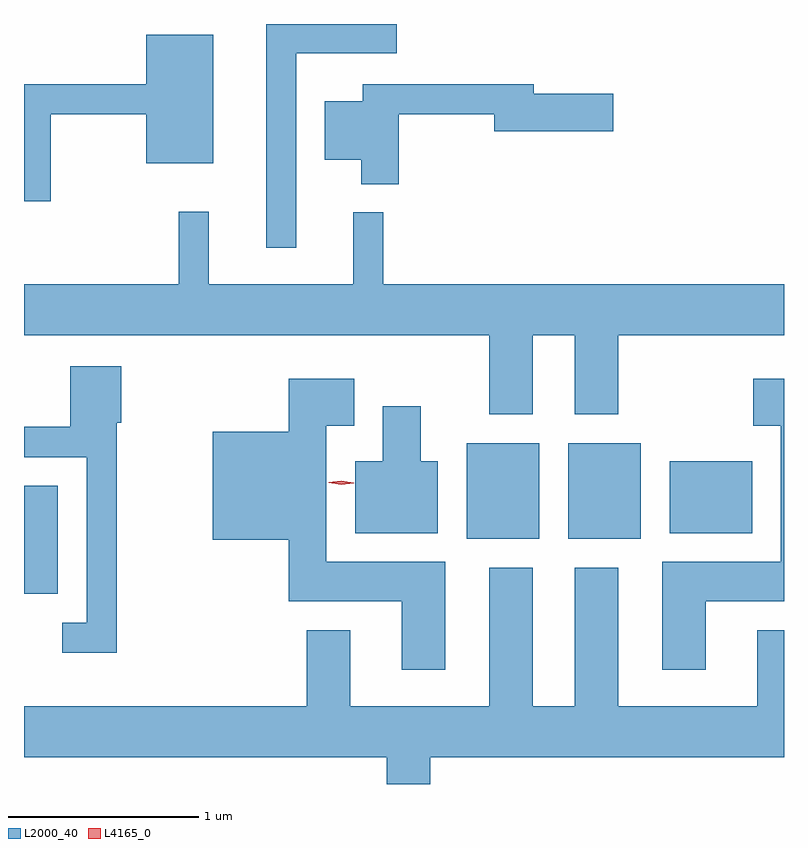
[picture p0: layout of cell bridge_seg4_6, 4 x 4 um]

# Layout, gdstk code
import gdstk
lib = gdstk.Library(unit=1e-6, precision=1e-09)
def R(c, l, rs):  # rectangles x0, y0, x1, y1
    for r in rs: c.add(gdstk.rectangle(r[:2], r[2:], *l))
def P(c, l, *ps):  # polygons
    for p in ps: c.add(gdstk.Polygon(p, *l))
L2000_40 = (2000, 40)
L4165_0 = (4165, 0)

bridge_seg4_6 = lib.new_cell('bridge_seg4_6')
R(bridge_seg4_6, L2000_40, [(1255.822,1377.736,1255.999,1378.304), (1258.151,1378.026,1258.534,1378.529), (1258.686,1378.026,1259.069,1378.529), (1259.221,1378.056,1259.654,1378.434)])
P(bridge_seg4_6, L2000_40, [(1257.254,1380.581),(1257.784,1380.581),(1257.784,1380.735),(1257.096,1380.735),(1257.096,1379.558),(1257.254,1379.558)],
  [(1255.964,1380.261),(1256.466,1380.261),(1256.466,1380.001),(1256.819,1380.001),(1256.819,1380.679),(1256.466,1380.679),(1256.466,1380.419),(1255.822,1380.419),(1255.822,1379.801),(1255.964,1379.801)],
  [(1257.794,1380.261),(1258.296,1380.261),(1258.296,1380.171),(1258.924,1380.171),(1258.924,1380.369),(1258.504,1380.369),(1258.504,1380.419),(1257.606,1380.419),(1257.606,1380.329),(1257.406,1380.329),(1257.406,1380.021),(1257.596,1380.021),(1257.596,1379.891),(1257.794,1379.891)],
  [(1258.499,1379.096),(1258.721,1379.096),(1258.721,1378.681),(1258.949,1378.681),(1258.949,1379.096),(1259.822,1379.096),(1259.822,1379.364),(1257.714,1379.364),(1257.714,1379.743),(1257.556,1379.743),(1257.556,1379.364),(1256.794,1379.364),(1256.794,1379.748),(1256.636,1379.748),(1256.636,1379.364),(1255.822,1379.364),(1255.822,1379.096),(1258.271,1379.096),(1258.271,1378.681),(1258.499,1378.681)],
  [(1256.309,1378.636),(1256.334,1378.636),(1256.334,1378.934),(1256.066,1378.934),(1256.066,1378.614),(1255.822,1378.614),(1255.822,1378.456),(1256.151,1378.456),(1256.151,1377.584),(1256.023,1377.584),(1256.023,1377.426),(1256.309,1377.426)],
  [(1258.039,1377.904),(1257.414,1377.904),(1257.414,1378.621),(1257.559,1378.621),(1257.559,1378.869),(1257.216,1378.869),(1257.216,1378.589),(1256.816,1378.589),(1256.816,1378.021),(1257.216,1378.021),(1257.216,1377.696),(1257.811,1377.696),(1257.811,1377.336),(1258.039,1377.336)],
  [(1259.409,1377.696),(1259.822,1377.696),(1259.822,1378.869),(1259.661,1378.869),(1259.661,1378.621),(1259.806,1378.621),(1259.806,1377.904),(1259.181,1377.904),(1259.181,1377.336),(1259.409,1377.336)],
  [(1257.999,1378.434),(1257.909,1378.434),(1257.909,1378.724),(1257.711,1378.724),(1257.711,1378.434),(1257.566,1378.434),(1257.566,1378.056),(1257.999,1378.056)],
  [(1259.822,1377.544),(1259.681,1377.544),(1259.681,1377.144),(1258.949,1377.144),(1258.949,1377.874),(1258.721,1377.874),(1258.721,1377.144),(1258.499,1377.144),(1258.499,1377.874),(1258.271,1377.874),(1258.271,1377.144),(1257.539,1377.144),(1257.539,1377.544),(1257.311,1377.544),(1257.311,1377.144),(1255.822,1377.144),(1255.822,1376.876),(1257.731,1376.876),(1257.731,1376.735),(1257.959,1376.735),(1257.959,1376.876),(1259.822,1376.876)])
P(bridge_seg4_6, L4165_0, [(1257.492,1378.31),(1257.426,1378.321),(1257.426,1378.321),(1257.426,1378.322),(1257.492,1378.33),(1257.558,1378.32),(1257.558,1378.319),(1257.558,1378.318)])

lib.write_gds('bridge_seg4_6.gds')
